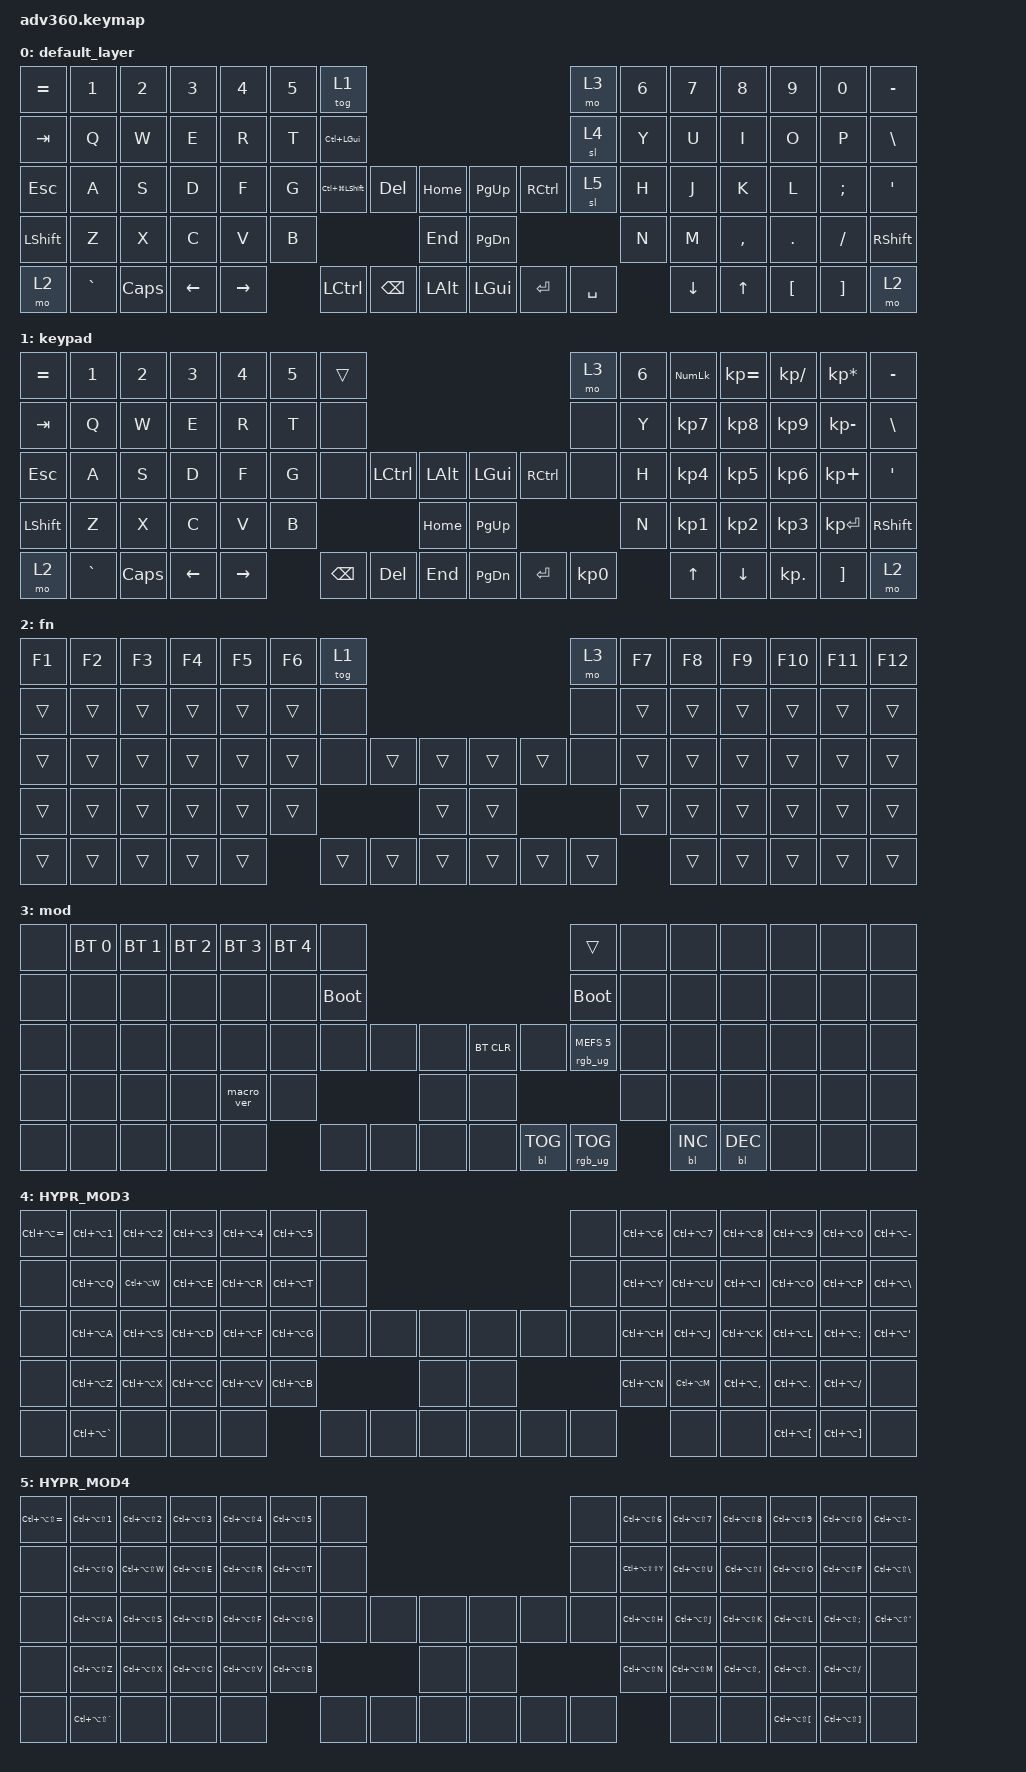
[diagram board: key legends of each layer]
#include <behaviors.dtsi>
#include <dt-bindings/zmk/backlight.h>
#include <dt-bindings/zmk/bt.h>
#include <dt-bindings/zmk/keys.h>
#include <dt-bindings/zmk/rgb.h>

/ {
    behaviors {
        #include "macros.dtsi"
      #include "version.dtsi"
      #ifndef VERSION_MACRO

        macro_ver: macro_ver {
            compatible = "zmk,behavior-macro";
            label = "macro_version";
            #binding-cells = <0>;
            bindings = <&kp RET>;
        };

        #endif

        hm: homerow_mods {
            compatible = "zmk,behavior-hold-tap";
            label = "HOMEROW_MODS";
            #binding-cells = <2>;
            tapping-term-ms = <200>;
            quick_tap_ms = <175>;
            flavor = "tap-preferred";
            bindings = <&kp>, <&kp>;
        };
    };

    macros {
    };

    keymap {
        compatible = "zmk,keymap";

        default_layer {
            bindings = <
&kp EQUAL  &kp N1     &kp N2    &kp N3    &kp N4     &kp N5  &tog 1                                                                    &mo 3      &kp N6  &kp N7          &kp N8        &kp N9    &kp N0    &kp MINUS
&kp TAB    &kp Q      &kp W     &kp E     &kp R      &kp T   &kp LC(LGUI)                                                              &sl 4      &kp Y   &kp U           &kp I         &kp O     &kp P     &kp BSLH
&kp ESC    &kp A      &kp S     &kp D     &kp F      &kp G   &kp LC(LG(LSHFT))  &kp DELETE     &kp HOME      &kp PG_UP      &kp RCTRL  &sl 5      &kp H   &kp J           &kp K         &kp L     &kp SEMI  &kp SQT
&kp LSHFT  &kp Z      &kp X     &kp C     &kp V      &kp B                                     &kp END       &kp PAGE_DOWN                        &kp N   &kp M           &kp COMMA     &kp DOT   &kp FSLH  &kp RSHFT
&mo 2      &kp GRAVE  &kp CAPS  &kp LEFT  &kp RIGHT          &kp LCTRL          &kp BACKSPACE  &kp LALT      &kp LGUI       &kp ENTER  &kp SPACE          &kp DOWN_ARROW  &kp UP_ARROW  &kp LBKT  &kp RBKT  &mo 2
            >;
        };

        keypad {
            bindings = <
&kp EQUAL  &kp N1     &kp N2    &kp N3    &kp N4     &kp N5  &trans                                                   &mo 3      &kp N6  &kp KP_NUM  &kp KP_EQUAL  &kp KP_DIVIDE  &kp KP_MULTIPLY  &kp MINUS
&kp TAB    &kp Q      &kp W     &kp E     &kp R      &kp T   &none                                                    &none      &kp Y   &kp KP_N7   &kp KP_N8     &kp KP_N9      &kp KP_MINUS     &kp BSLH
&kp ESC    &kp A      &kp S     &kp D     &kp F      &kp G   &none     &kp LCTRL  &kp LALT      &kp LGUI   &kp RCTRL  &none      &kp H   &kp KP_N4   &kp KP_N5     &kp KP_N6      &kp KP_PLUS      &kp SQT
&kp LSHFT  &kp Z      &kp X     &kp C     &kp V      &kp B                        &kp HOME      &kp PG_UP                        &kp N   &kp KP_N1   &kp KP_N2     &kp KP_N3      &kp KP_ENTER     &kp RSHFT
&mo 2      &kp GRAVE  &kp CAPS  &kp LEFT  &kp RIGHT          &kp BSPC  &kp DEL    &kp END       &kp PG_DN  &kp ENTER  &kp KP_N0          &kp UP      &kp DOWN      &kp KP_DOT     &kp RBKT         &mo 2
            >;
        };

        fn {
            bindings = <
&kp F1  &kp F2  &kp F3  &kp F4  &kp F5  &kp F6  &tog 1                                      &mo 3   &kp F7  &kp F8  &kp F9  &kp F10  &kp F11  &kp F12
&trans  &trans  &trans  &trans  &trans  &trans  &none                                       &none   &trans  &trans  &trans  &trans   &trans   &trans
&trans  &trans  &trans  &trans  &trans  &trans  &none   &trans  &trans      &trans  &trans  &none   &trans  &trans  &trans  &trans   &trans   &trans
&trans  &trans  &trans  &trans  &trans  &trans                  &trans      &trans                  &trans  &trans  &trans  &trans   &trans   &trans
&trans  &trans  &trans  &trans  &trans          &trans  &trans  &trans      &trans  &trans  &trans          &trans  &trans  &trans   &trans   &trans
            >;
        };

        mod {
            bindings = <
&none  &bt BT_SEL 0  &bt BT_SEL 1  &bt BT_SEL 2  &bt BT_SEL 3  &bt BT_SEL 4  &none                                                  &trans                  &none  &none       &none       &none  &none  &none
&none  &none         &none         &none         &none         &none         &bootloader                                            &bootloader             &none  &none       &none       &none  &none  &none
&none  &none         &none         &none         &none         &none         &none        &none  &none      &bt BT_CLR  &none       &rgb_ug RGB_MEFS_CMD 5  &none  &none       &none       &none  &none  &none
&none  &none         &none         &none         &macro_ver    &none                             &none      &none                                           &none  &none       &none       &none  &none  &none
&none  &none         &none         &none         &none                       &none        &none  &none      &none       &bl BL_TOG  &rgb_ug RGB_TOG                &bl BL_INC  &bl BL_DEC  &none  &none  &none
            >;
        };

        HYPR_MOD3 {
            bindings = <
&kp LC(LA(EQUAL))  &kp LC(LA(N1))     &kp LC(LA(N2))  &kp LC(LA(N3))  &kp LC(LA(N4))  &kp LC(LA(N5))  &none                                  &none  &kp LC(LA(N6))  &kp LC(LA(N7))  &kp LC(LA(N8))     &kp LC(LA(N9))    &kp LC(LA(N0))    &kp LC(LA(MINUS))
&none              &kp LC(LA(Q))      &kp LC(LA(W))   &kp LC(LA(E))   &kp LC(LA(R))   &kp LC(LA(T))   &none                                  &none  &kp LC(LA(Y))   &kp LC(LA(U))   &kp LC(LA(I))      &kp LC(LA(O))     &kp LC(LA(P))     &kp LC(LA(BSLH))
&none              &kp LC(LA(A))      &kp LC(LA(S))   &kp LC(LA(D))   &kp LC(LA(F))   &kp LC(LA(G))   &none  &none  &none      &none  &none  &none  &kp LC(LA(H))   &kp LC(LA(J))   &kp LC(LA(K))      &kp LC(LA(L))     &kp LC(LA(SEMI))  &kp LC(LA(SQT))
&none              &kp LC(LA(Z))      &kp LC(LA(X))   &kp LC(LA(C))   &kp LC(LA(V))   &kp LC(LA(B))                 &none      &none                &kp LC(LA(N))   &kp LC(LA(M))   &kp LC(LA(COMMA))  &kp LC(LA(DOT))   &kp LC(LA(FSLH))  &none
&none              &kp LC(LA(GRAVE))  &none           &none           &none                           &none  &none  &none      &none  &none  &none                  &none           &none              &kp LC(LA(LBKT))  &kp LC(LA(RBKT))  &none
            >;
        };

        HYPR_MOD4 {
            bindings = <
&kp LC(LA(LS(EQUAL)))  &kp LC(LA(LS(N1)))     &kp LC(LA(LS(N2)))  &kp LC(LA(LS(N3)))  &kp LC(LA(LS(N4)))  &kp LC(LA(LS(N5)))  &none                                  &none  &kp LC(LA(LS(N6)))     &kp LC(LA(LS(N7)))  &kp LC(LA(LS(N8)))     &kp LC(LA(LS(N9)))    &kp LC(LA(LS(N0)))    &kp LC(LA(LS(MINUS)))
&none                  &kp LC(LA(LS(Q)))      &kp LC(LA(LS(W)))   &kp LC(LA(LS(E)))   &kp LC(LA(LS(R)))   &kp LC(LA(LS(T)))   &none                                  &none  &kp LC(LA(LS(LS(Y))))  &kp LC(LA(LS(U)))   &kp LC(LA(LS(I)))      &kp LC(LA(LS(O)))     &kp LC(LA(LS(P)))     &kp LC(LA(LS(BSLH)))
&none                  &kp LC(LA(LS(A)))      &kp LC(LA(LS(S)))   &kp LC(LA(LS(D)))   &kp LC(LA(LS(F)))   &kp LC(LA(LS(G)))   &none  &none  &none      &none  &none  &none  &kp LC(LA(LS(H)))      &kp LC(LA(LS(J)))   &kp LC(LA(LS(K)))      &kp LC(LA(LS(L)))     &kp LC(LA(LS(SEMI)))  &kp LC(LA(LS(SQT)))
&none                  &kp LC(LA(LS(Z)))      &kp LC(LA(LS(X)))   &kp LC(LA(LS(C)))   &kp LC(LA(LS(V)))   &kp LC(LA(LS(B)))                 &none      &none                &kp LC(LA(LS(N)))      &kp LC(LA(LS(M)))   &kp LC(LA(LS(COMMA)))  &kp LC(LA(LS(DOT)))   &kp LC(LA(LS(FSLH)))  &none
&none                  &kp LC(LA(LS(GRAVE)))  &none               &none               &none                                   &none  &none  &none      &none  &none  &none                         &none               &none                  &kp LC(LA(LS(LBKT)))  &kp LC(LA(LS(RBKT)))  &none
            >;
        };
    };
};
